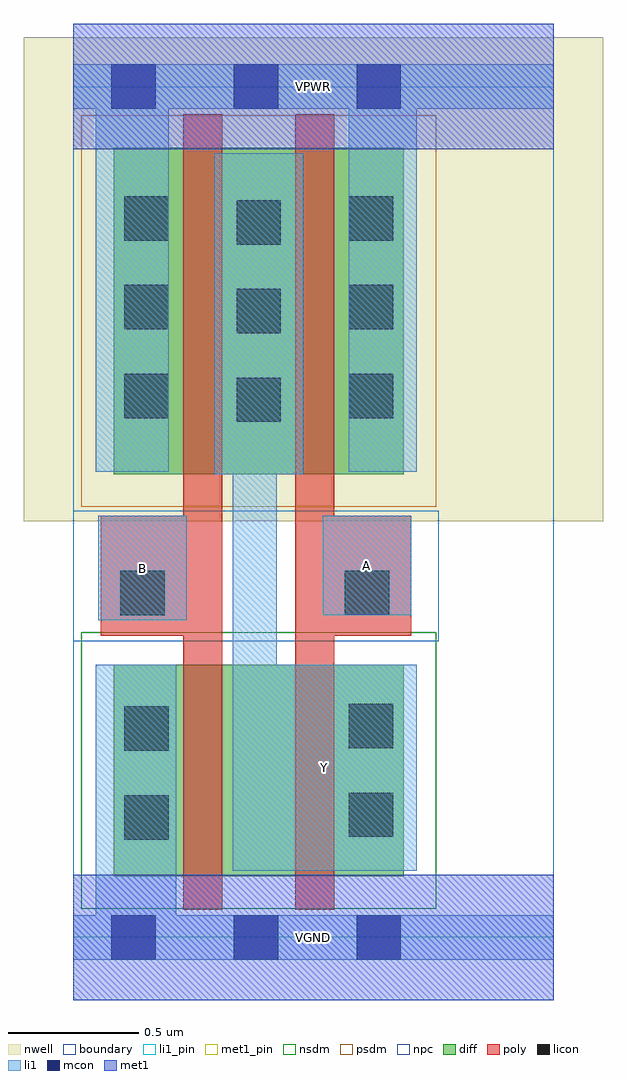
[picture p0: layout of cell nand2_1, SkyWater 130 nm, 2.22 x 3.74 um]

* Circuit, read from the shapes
.subckt nand2_1 A B VGND VPWR Y
XM1 n1 B VGND VSUBS sky130_fd_pr__nfet_01v8 w=0.81 l=0.15
XM2 Y A n1 VSUBS sky130_fd_pr__nfet_01v8 w=0.81 l=0.15
XM3 Y B VPWR n2 sky130_fd_pr__pfet_01v8 w=1.25 l=0.15
XM4 VPWR A Y n2 sky130_fd_pr__pfet_01v8 w=1.25 l=0.15
.ends

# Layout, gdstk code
import gdstk
lib = gdstk.Library(unit=1e-6, precision=1e-09)
def R(c, l, rs):  # rectangles x0, y0, x1, y1
    for r in rs: c.add(gdstk.rectangle(r[:2], r[2:], *l))
def A(c, l, x, y, w, h, nx, ny, dx, dy):  # array of equal rectangles
    R(c, l, [(x+i*dx, y+j*dy, x+i*dx+w, y+j*dy+h) for i in range(nx) for j in range(ny)])
nwell = (64, 20)
diff = (65, 20)
poly = (66, 20)
licon = (66, 44)
li1_pin = (67, 16)
li1 = (67, 20)
mcon = (67, 44)
met1_pin = (68, 16)
met1 = (68, 20)
nsdm = (93, 44)
psdm = (94, 20)
npc = (95, 20)
boundary = (235, 4)

nand2_1 = lib.new_cell('nand2_1')
R(nand2_1, nwell, [(-0.19,1.595,2.03,3.45), (0,1.595,1.84,3.45)])
R(nand2_1, diff, [(0.155,0.235,1.265,1.045), (0.155,1.775,1.265,3.025)])
R(nand2_1, poly, [(0.42,0.105,0.57,3.155), (0.85,0.105,1,3.155), (0.105,1.155,0.57,1.615), (0.85,1.155,1.295,1.615)])
A(nand2_1, licon, 0.625, 1.975, 0.17, 0.17, 1, 3, 0, 0.34)
A(nand2_1, licon, 0.195, 1.99, 0.17, 0.17, 1, 3, 0, 0.34)
A(nand2_1, licon, 1.055, 1.99, 0.17, 0.17, 1, 3, 0, 0.34)
R(nand2_1, licon, [(0.195,0.375,0.365,0.545), (1.055,0.385,1.225,0.555), (0.195,0.715,0.365,0.885), (1.055,0.725,1.225,0.895), (0.18,1.235,0.35,1.405), (1.04,1.235,1.21,1.405)])
R(nand2_1, li1_pin, [(0.61,0.255,1.315,1.045), (0.095,1.215,0.435,1.615), (0.955,1.235,1.295,1.615)])
R(nand2_1, li1, [(0,-0.085,1.84,0.085), (0.085,-0.085,0.395,1.045), (0.61,0.255,1.315,1.045), (0.61,0.255,0.78,3.005), (0.095,1.215,0.435,1.615), (0.955,1.235,1.295,1.615), (0.54,1.775,0.88,3.005), (0.085,1.785,0.365,3.345), (1.055,1.785,1.315,3.345), (0,3.175,1.84,3.345)])
A(nand2_1, mcon, 0.145, -0.085, 0.17, 0.17, 3, 2, 0.47, 3.26)
R(nand2_1, met1_pin, [(0,-0.24,1.84,0.24), (0,3.02,1.84,3.5)])
R(nand2_1, met1, [(0,-0.24,1.84,0.24), (0,3.02,1.84,3.5)])
R(nand2_1, nsdm, [(0.03,0.11,1.39,1.17)])
R(nand2_1, psdm, [(0.03,1.65,1.39,3.15)])
R(nand2_1, npc, [(0,1.135,1.4,1.635)])
R(nand2_1, boundary, [(0,0,1.84,3.26)])
nand2_1.add(gdstk.Label('A', (1.125,1.425), layer=67, texttype=5))
nand2_1.add(gdstk.Label('B', (0.265,1.415), layer=67, texttype=5))
nand2_1.add(gdstk.Label('Y', (0.962,0.65), layer=67, texttype=5))
nand2_1.add(gdstk.Label('VPWR', (0.92,3.26), layer=68, texttype=5))
nand2_1.add(gdstk.Label('VGND', (0.92,0), layer=68, texttype=5))
nand2_1.add(gdstk.Label('A', (1.125,1.425), layer=67, texttype=16))
nand2_1.add(gdstk.Label('B', (0.265,1.415), layer=67, texttype=16))
nand2_1.add(gdstk.Label('Y', (0.962,0.65), layer=67, texttype=16))
nand2_1.add(gdstk.Label('VPWR', (0.92,3.26), layer=68, texttype=16))
nand2_1.add(gdstk.Label('VGND', (0.92,0), layer=68, texttype=16))

lib.write_gds('nand2_1.gds')
